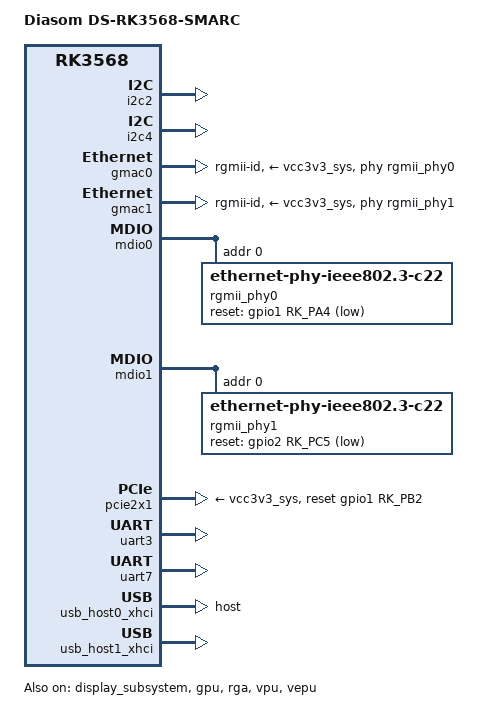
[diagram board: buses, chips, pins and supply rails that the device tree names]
/* SPDX-License-Identifier: GPL-2.0+ */
/* SPDX-FileCopyrightText: Alexander Shiyan <shc_work@mail.ru> */

/dts-v1/;

#include "rk3568-diasom-som.dtsi"

/ {
	model = "Diasom DS-RK3568-SMARC";
	compatible = "diasom,ds-rk3568-smarc", "diasom,ds-rk3568-som", "rockchip,rk3568";

	aliases {
		ethernet0 = &gmac0;
		ethernet1 = &gmac1;
	};
};

&display_subsystem {
	status = "okay";
};

&i2c2 {
	pinctrl-0 = <&i2c2m1_xfer>;
	status = "okay";
};

&i2c4 {
	status = "okay";
};

&gmac0 {
	assigned-clocks = <&cru SCLK_GMAC0_RX_TX>, <&cru SCLK_GMAC0>;
	assigned-clock-parents = <&cru SCLK_GMAC0_RGMII_SPEED>;
	assigned-clock-rates = <0>, <125000000>;
	pinctrl-names = "default";
	pinctrl-0 = <&gmac0_miim &gmac0_tx_bus2 &gmac0_rx_bus2 &gmac0_rgmii_clk &gmac0_rgmii_bus>;
	clock_in_out = "output";
	phy-handle = <&rgmii_phy0>;
	phy-mode = "rgmii-id";
	phy-supply = <&vcc3v3_sys>;
	status = "okay";
};

&gmac1 {
	assigned-clocks = <&cru SCLK_GMAC1_RX_TX>, <&cru SCLK_GMAC1>;
	assigned-clock-parents = <&cru SCLK_GMAC1_RGMII_SPEED>;
	assigned-clock-rates = <0>, <125000000>;
	pinctrl-names = "default";
	pinctrl-0 = <&gmac1m1_miim &gmac1m1_tx_bus2 &gmac1m1_rx_bus2 &gmac1m1_rgmii_clk &gmac1m1_rgmii_bus>;
	clock_in_out = "output";
	phy-handle = <&rgmii_phy1>;
	phy-mode = "rgmii-id";
	phy-supply = <&vcc3v3_sys>;
	status = "okay";
};

&gpu {
	status = "okay";
};

&mdio0 {
	rgmii_phy0: phy@0 {
		pinctrl-names = "default";
		pinctrl-0 = <&gmac0_rst_pins>;
		compatible = "ethernet-phy-ieee802.3-c22";
		reg = <0x0>;
		reset-assert-us = <20000>;
		reset-deassert-us = <100000>;
		reset-gpios = <&gpio1 RK_PA4 GPIO_ACTIVE_LOW>;
	};
};

&mdio1 {
	rgmii_phy1: phy@0 {
		pinctrl-names = "default";
		pinctrl-0 = <&gmac1_rst_pins>;
		compatible = "ethernet-phy-ieee802.3-c22";
		reg = <0x0>;
		reset-assert-us = <20000>;
		reset-deassert-us = <100000>;
		reset-gpios = <&gpio2 RK_PC5 GPIO_ACTIVE_LOW>;
	};
};

&pcie2x1 {
	pinctrl-names = "default";
	pinctrl-0 = <&pcie20m2_pins>;
	reset-gpios = <&gpio1 RK_PB2 GPIO_ACTIVE_HIGH>;
	vpcie3v3-supply = <&vcc3v3_sys>;
	status = "okay";
};

&rga {
	status = "okay";
};

&uart3 {
	pinctrl-0 = <&uart3m1_xfer>;
	/* Should be added in 6.10+ */
	dma-names = "tx", "rx";
	status = "okay";
};

//&uart5 {
//	pinctrl-0 = <&uart5m0_xfer &uart5m0_ctsn &uart5m0_rtsn>;
//	/* Should be added in 6.10+ */
//	dma-names = "tx", "rx";
//	status = "okay";
//};

&uart7 {
	pinctrl-0 = <&uart7m1_xfer>;
	/* Should be added in 6.10+ */
	dma-names = "tx", "rx";
	status = "okay";
};

&usb_host0_xhci {
	dr_mode = "host";
};

&usb_host1_xhci {
	status = "okay";
};

&vdda0v9_image {
	/* Temporary hack regulator-always-on and regulator-boot-on
	   properties until we have regulator handling for dsi & lvds nodes
	*/
	regulator-always-on;
	regulator-boot-on;
};

&vcca1v8_image {
	/* Temporary hack regulator-always-on and regulator-boot-on
	   properties until we have regulator handling for dsi & lvds nodes
	*/
	regulator-always-on;
	regulator-boot-on;
};

&vpu {
	status = "okay";
};

&vdpu_mmu {
	status = "okay";
};

&vepu {
	status = "okay";
};

&vepu_mmu {
	status = "okay";
};

&pinctrl {
	net {
		gmac0_rst_pins: gmac0-rst-pins {
			rockchip,pins =
				<1 RK_PA4 RK_FUNC_GPIO &pcfg_pull_none>;	/* GMAC0_RST */
		};

		gmac1_rst_pins: gmac1-rst-pins {
			rockchip,pins =
				<2 RK_PC5 RK_FUNC_GPIO &pcfg_pull_none>;	/* GMAC1_RST */
		};
	};
};
